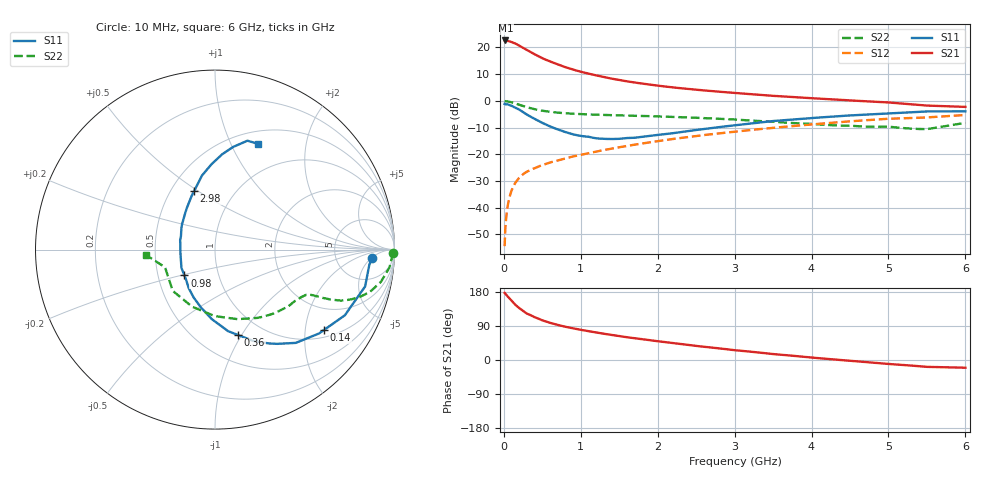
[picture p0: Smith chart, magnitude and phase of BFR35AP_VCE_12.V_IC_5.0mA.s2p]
! Infineon Technologies  Discrete & RF Semiconductors
! BFR35AP
! VCE =  12. V,  IC =  5.0 mA
! Common Emitter S-Parameters:  Nov 2015
# GHz  S  MA  R  50
!  f  S11  S21  S12  S22
! GHz  MAG  ANG  MAG  ANG  MAG  ANG  MAG  ANG
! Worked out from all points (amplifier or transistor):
!   210 points, 10 MHz to 6 GHz, reference 50 ohm
!   highest |S21| = 22.6 dB at 20 MHz (marker M1)
!   |S21| within 3 dB of that: start of sweep to 265.1 MHz
!   unconditionally stable (mu >= 1): 872.7 MHz to 2.88 GHz
!   at 185 MHz: K = 0.37, MSG = 25.1 dB, |S12| = -29.3 dB
!   at 1.52 GHz: K = 1.10, MAG = 10.6 dB, |S12| = -17.3 dB
!   at 6 GHz: K = 0.87, MSG = 1.5 dB, |S12| = -5.3 dB
!   S11 on the Smith chart (normalised r, x): 10 MHz: 13, -5; 140 MHz: 1.22, -2.53; 360 MHz: 0.77, -0.97; 980 MHz: 0.68, -0.21; 2.98 GHz: 0.65, +0.48; 6 GHz: 0.65, +1.28
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0.01  0.8761 -2.9  13.49 177.1  0.0019 83.2  0.9913 -1.0
0.02  0.864 -5.6  13.52 174.5  0.0042 84.3  0.9872 -2.4
0.05  0.8612 -13.8  13.35 167.7  0.0108 81.3  0.9769 -5.9
0.1  0.8109 -26.8  12.65 156.6  0.0209 76.2  0.9417 -11.0
0.14  0.7549 -36.3  11.99 147.7  0.0276 70.9  0.9031 -14.5
0.15  0.7444 -38.9  11.88 145.3  0.0293 69.9  0.894 -15.4
0.2  0.6876 -49.1  10.81 137.0  0.0363 65.7  0.8457 -18.3
0.24  0.6298 -56.5  10.02 130.8  0.0411 63.2  0.8094 -20.0
0.3  0.5525 -67.2  8.986 122.4  0.0472 61.1  0.7588 -22.0
0.36  0.4936 -74.8  8.041 117.1  0.0518 59.8  0.7205 -22.9
0.5  0.3874 -92.7  6.273 104.6  0.0626 58.2  0.6527 -24.2
0.6  0.3322 -103.5  5.463 98.1  0.07 58.0  0.6244 -24.6
0.8  0.2602 -124.2  4.273 87.6  0.0834 58.8  0.5858 -25.4
0.98  0.2233 -139.8  3.572 80.4  0.0963 59.6  0.5667 -26.5
1.02  0.2187 -143.8  3.452 78.9  0.0991 59.7  0.5635 -26.8
1.4  0.1932 -179.0  2.609 66.2  0.1269 60.2  0.5407 -30.6
2.02  0.232 142.2  1.912 49.0  0.1777 58.4  0.5109 -39.1
2.98  0.3454 109.8  1.416 26.4  0.2638 52.1  0.4491 -57.7
3.1  0.3612 107.2  1.372 24.1  0.2749 50.8  0.4377 -60.8
4.1  0.4878 90.8  1.1 4.7  0.3718 40.5  0.3611 -94.2
5.1  0.5911 78.5  0.908 -11.8  0.4669 26.8  0.3179 -140.2
6  0.6365 67.7  0.771 -20.4  0.5436 15.9  0.3877 -175.8
